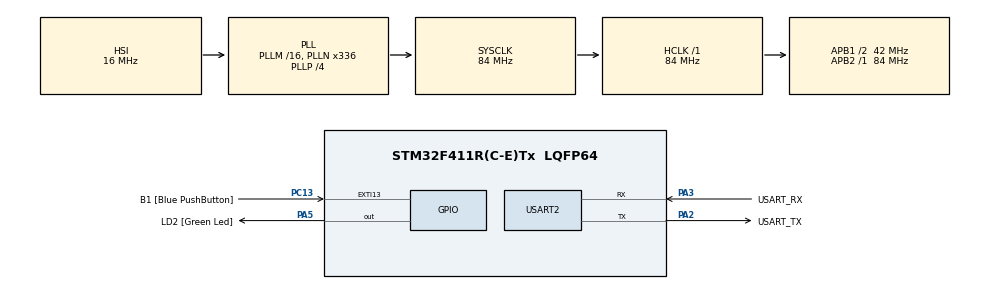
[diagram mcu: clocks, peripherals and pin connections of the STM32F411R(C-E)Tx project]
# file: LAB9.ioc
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Mcu.Family=STM32F4
PC15-OSC32_OUT.Mode=LSE-External-Oscillator
Dma.USART2_TX.1.Priority=DMA_PRIORITY_LOW
RCC.CortexFreq_Value=84000000
Dma.USART2_TX.1.FIFOMode=DMA_FIFOMODE_DISABLE
PC13-ANTI_TAMP.GPIO_Label=B1 [Blue PushButton]
Dma.USART2_TX.1.MemInc=DMA_MINC_ENABLE
PA14.GPIO_Label=TCK
PH1\ -\ OSC_OUT.Mode=HSE-External-Clock-Source
Dma.USART2_RX.0.Direction=DMA_PERIPH_TO_MEMORY
RCC.APB1CLKDivider=RCC_HCLK_DIV2
PC14-OSC32_IN.Signal=RCC_OSC32_IN
Dma.USART2_TX.1.PeriphDataAlignment=DMA_PDATAALIGN_BYTE
NVIC.USART2_IRQn=true\:0\:0\:false\:false\:true\:true\:true
RCC.SYSCLKSource=RCC_SYSCLKSOURCE_PLLCLK
ProjectManager.StackSize=0x400
Dma.USART2_RX.0.Mode=DMA_CIRCULAR
PA3.Mode=Asynchronous
PA13.Signal=SYS_JTMS-SWDIO
PH0\ -\ OSC_IN.Mode=HSE-External-Clock-Source
PH0\ -\ OSC_IN.Signal=RCC_OSC_IN
ProjectManager.TargetToolchain=STM32CubeIDE
NVIC.DMA1_Stream5_IRQn=true\:0\:0\:false\:false\:true\:false\:true
Dma.USART2_RX.0.Priority=DMA_PRIORITY_LOW
Dma.USART2_RX.0.PeriphDataAlignment=DMA_PDATAALIGN_BYTE
RCC.HCLKFreq_Value=84000000
RCC.APB2TimFreq_Value=84000000
Dma.USART2_TX.1.Mode=DMA_NORMAL
PC15-OSC32_OUT.Signal=RCC_OSC32_OUT
RCC.AHBFreq_Value=84000000
PA5.Signal=GPIO_Output
RCC.HSE_VALUE=8000000
PH1\ -\ OSC_OUT.Signal=RCC_OSC_OUT
Dma.USART2_TX.1.PeriphInc=DMA_PINC_DISABLE
board=NUCLEO-F411RE
PC13-ANTI_TAMP.Signal=GPXTI13
RCC.VCOOutputFreq_Value=336000000
Dma.USART2_TX.1.Direction=DMA_MEMORY_TO_PERIPH
RCC.APB2Freq_Value=84000000
Dma.USART2_RX.0.MemDataAlignment=DMA_MDATAALIGN_BYTE
PC14-OSC32_IN.Mode=LSE-External-Oscillator
PA14.Mode=Serial_Wire
Dma.USART2_TX.1.Instance=DMA1_Stream6
Dma.USART2_RX.0.Instance=DMA1_Stream5
PA13.Mode=Serial_Wire
Mcu.Name=STM32F411R(C-E)Tx
Dma.USART2_RX.0.MemInc=DMA_MINC_ENABLE
PA2.Signal=USART2_TX
PA13.GPIO_Label=TMS
RCC.FLatency-AdvancedSettings=FLASH_LATENCY_2
RCC.48MHZClocksFreq_Value=84000000
PB3.Signal=SYS_JTDO-SWO
RCC.SYSCLKFreq_VALUE=84000000
Mcu.Package=LQFP64
PA5.GPIO_Label=LD2 [Green Led]
Dma.USART2_RX.0.PeriphInc=DMA_PINC_DISABLE
USART2.VirtualMode=VM_ASYNC
Dma.USART2_RX.0.FIFOMode=DMA_FIFOMODE_DISABLE
PC13-ANTI_TAMP.GPIO_ModeDefaultEXTI=GPIO_MODE_IT_FALLING
PA2.GPIO_Label=USART_TX
PA14.Signal=SYS_JTCK-SWCLK
ProjectManager.HeapSize=0x200
RCC.HSI_VALUE=16000000
RCC.PLLP=RCC_PLLP_DIV4
NVIC.PriorityGroup=NVIC_PRIORITYGROUP_0
RCC.PLLN=336
Dma.Request1=USART2_TX
RCC.APB1TimFreq_Value=84000000
PA2.Mode=Asynchronous
Dma.USART2_TX.1.MemDataAlignment=DMA_MDATAALIGN_BYTE
Dma.Request0=USART2_RX
NVIC.DMA1_Stream6_IRQn=true\:0\:0\:false\:false\:true\:false\:true
RCC.APB1Freq_Value=42000000
PA3.GPIO_Label=USART_RX
PA3.Signal=USART2_RX
PB3.GPIO_Label=SWO

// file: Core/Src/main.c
/* USER CODE BEGIN Header */
/**
 ******************************************************************************
 * @file           : main.c
 * @brief          : Main program body
 ******************************************************************************
 * @attention
 *
 * <h2><center>&copy; Copyright (c) 2021 STMicroelectronics.
 * All rights reserved.</center></h2>
 *
 * This software component is licensed by ST under BSD 3-Clause license,
 * the "License"; You may not use this file except in compliance with the
 * License. You may obtain a copy of the License at:
 *                        opensource.org/licenses/BSD-3-Clause
 *
 ******************************************************************************
 */
/* USER CODE END Header */
#include "main.h"

/* USER CODE BEGIN Includes */
#include "stdio.h"
#include <stdlib.h>
#include "string.h"
/* USER CODE END Includes */

/* USER CODE BEGIN PD */
//#define UARTDEBUG
#define MAX_PACKET_LEN 255
#define MEMORY_MAX 255
/* USER CODE END PD */

UART_HandleTypeDef huart2;
DMA_HandleTypeDef hdma_usart2_rx;
DMA_HandleTypeDef hdma_usart2_tx;

/* USER CODE BEGIN PV */
typedef struct _UartStructure
{
	UART_HandleTypeDef *huart;
	uint16_t TxLen, RxLen;
	uint8_t *TxBuffer;
	uint16_t TxTail, TxHead;
	uint8_t *RxBuffer;
	uint16_t RxTail; //RXHeadUseDMA

} UARTStucrture;

UARTStucrture UART2 =
{ 0 };

uint8_t MainMemory[MEMORY_MAX] =
{ 0 };

typedef enum
{
	DNMXP_idle,			//Header 1 data
	DNMXP_1stHeader,	//Header 2 data
	DNMXP_2ndHeader,	//Header 3 data
	DNMXP_3rdHeader,	//Reserved data -> MotorID / 0xFE (all device execute instruction (only working when PING , sync read ,bulk read only))
	DNMXP_Reserved,		//ID data
	DNMXP_ID,			//LEN1 data -> datalen
	DNMXP_LEN1,			//datalen |= (LEN2 data << 8)
	DNMXP_LEN2,			//inst data
	DNMXP_Inst,			//check datalen if more than 3 -> has parameter and go to parametercollect state ... else -> no parameter skip parametercollect state
						//to CRCAndExecute
	DNMXP_ParameterCollect,	//collect parameter in array until collect all parameter
	DNMXP_CRCAndExecute		//check CRC is correct or not if correct went to instruction 0x01 (Ping) 0x02 (Read) 0x03 (Write) according to inst data if none
							//of this is match sent to error if incorrect error

} DNMXPState;
/* USER CODE END PV */

void SystemClock_Config(void);
static void MX_GPIO_Init(void);
static void MX_DMA_Init(void);
static void MX_USART2_UART_Init(void);
/* USER CODE BEGIN PFP */
void UARTInit(UARTStucrture *uart);

void UARTResetStart(UARTStucrture *uart);

uint32_t UARTGetRxHead(UARTStucrture *uart);

int16_t UARTReadChar(UARTStucrture *uart);

void UARTTxDumpBuffer(UARTStucrture *uart);

void UARTTxWrite(UARTStucrture *uart, uint8_t *pData, uint16_t len);

unsigned short update_crc(unsigned short crc_accum, unsigned char *data_blk_ptr,
		unsigned short data_blk_size);
void DynamixelProtocal2(uint8_t *Memory, uint8_t MotorID, int16_t dataIn,
		UARTStucrture *uart);
/* USER CODE END PFP */

int main(void)
{

	/* MCU Configuration--------------------------------------------------------*/

	/* Reset of all peripherals, Initializes the Flash interface and the Systick. */
	HAL_Init();

	/* Configure the system clock */
	SystemClock_Config();

	/* Initialize all configured peripherals */
	MX_GPIO_Init();
	MX_DMA_Init();
	MX_USART2_UART_Init();
	/* USER CODE BEGIN 2 */
	UART2.huart = &huart2;
	UART2.RxLen = 255;
	UART2.TxLen = 255;
	UARTInit(&UART2);
	UARTResetStart(&UART2);
	/* USER CODE END 2 */

	/* Infinite loop */
	/* USER CODE BEGIN WHILE */
	while (1)
	{
		int16_t inputChar = UARTReadChar(&UART2);
		if (inputChar != -1)
		{
#ifdef UARTDEBUG
			char temp[32];
			sprintf(temp, "Recived [%d]\r\n", inputChar);
			UARTTxWrite(&UART2, (uint8_t*) temp, strlen(temp));
#else
			DynamixelProtocal2(MainMemory, 1, inputChar, &UART2);
#endif

		}
		/* USER CODE END WHILE */

		/* USER CODE BEGIN 3 */
		UARTTxDumpBuffer(&UART2);
	}
	/* USER CODE END 3 */
}

void SystemClock_Config(void)
{
	RCC_OscInitTypeDef RCC_OscInitStruct =
	{ 0 };
	RCC_ClkInitTypeDef RCC_ClkInitStruct =
	{ 0 };

	/** Configure the main internal regulator output voltage
	 */
	__HAL_RCC_PWR_CLK_ENABLE();
	__HAL_PWR_VOLTAGESCALING_CONFIG(PWR_REGULATOR_VOLTAGE_SCALE1);
	/** Initializes the RCC Oscillators according to the specified parameters
	 * in the RCC_OscInitTypeDef structure.
	 */
	RCC_OscInitStruct.OscillatorType = RCC_OSCILLATORTYPE_HSI;
	RCC_OscInitStruct.HSIState = RCC_HSI_ON;
	RCC_OscInitStruct.HSICalibrationValue = RCC_HSICALIBRATION_DEFAULT;
	RCC_OscInitStruct.PLL.PLLState = RCC_PLL_ON;
	RCC_OscInitStruct.PLL.PLLSource = RCC_PLLSOURCE_HSI;
	RCC_OscInitStruct.PLL.PLLM = 16;
	RCC_OscInitStruct.PLL.PLLN = 336;
	RCC_OscInitStruct.PLL.PLLP = RCC_PLLP_DIV4;
	RCC_OscInitStruct.PLL.PLLQ = 4;
	if (HAL_RCC_OscConfig(&RCC_OscInitStruct) != HAL_OK)
	{
		Error_Handler();
	}
	/** Initializes the CPU, AHB and APB buses clocks
	 */
	RCC_ClkInitStruct.ClockType = RCC_CLOCKTYPE_HCLK | RCC_CLOCKTYPE_SYSCLK
			| RCC_CLOCKTYPE_PCLK1 | RCC_CLOCKTYPE_PCLK2;
	RCC_ClkInitStruct.SYSCLKSource = RCC_SYSCLKSOURCE_PLLCLK;
	RCC_ClkInitStruct.AHBCLKDivider = RCC_SYSCLK_DIV1;
	RCC_ClkInitStruct.APB1CLKDivider = RCC_HCLK_DIV2;
	RCC_ClkInitStruct.APB2CLKDivider = RCC_HCLK_DIV1;

	if (HAL_RCC_ClockConfig(&RCC_ClkInitStruct, FLASH_LATENCY_2) != HAL_OK)
	{
		Error_Handler();
	}
}

static void MX_USART2_UART_Init(void)
{

	huart2.Instance = USART2;
	huart2.Init.BaudRate = 115200;
	huart2.Init.WordLength = UART_WORDLENGTH_8B;
	huart2.Init.StopBits = UART_STOPBITS_1;
	huart2.Init.Parity = UART_PARITY_NONE;
	huart2.Init.Mode = UART_MODE_TX_RX;
	huart2.Init.HwFlowCtl = UART_HWCONTROL_NONE;
	huart2.Init.OverSampling = UART_OVERSAMPLING_16;
	if (HAL_UART_Init(&huart2) != HAL_OK)
	{
		Error_Handler();
	}

}

static void MX_DMA_Init(void)
{

	/* DMA controller clock enable */
	__HAL_RCC_DMA1_CLK_ENABLE();

	/* DMA interrupt init */
	/* DMA1_Stream5_IRQn interrupt configuration */
	HAL_NVIC_SetPriority(DMA1_Stream5_IRQn, 0, 0);
	HAL_NVIC_EnableIRQ(DMA1_Stream5_IRQn);
	/* DMA1_Stream6_IRQn interrupt configuration */
	HAL_NVIC_SetPriority(DMA1_Stream6_IRQn, 0, 0);
	HAL_NVIC_EnableIRQ(DMA1_Stream6_IRQn);

}

static void MX_GPIO_Init(void)
{
	GPIO_InitTypeDef GPIO_InitStruct =
	{ 0 };

	/* GPIO Ports Clock Enable */
	__HAL_RCC_GPIOC_CLK_ENABLE();
	__HAL_RCC_GPIOH_CLK_ENABLE();
	__HAL_RCC_GPIOA_CLK_ENABLE();
	__HAL_RCC_GPIOB_CLK_ENABLE();

	/*Configure GPIO pin Output Level */
	HAL_GPIO_WritePin(LD2_GPIO_Port, LD2_Pin, GPIO_PIN_RESET);

	/*Configure GPIO pin : B1_Pin */
	GPIO_InitStruct.Pin = B1_Pin;
	GPIO_InitStruct.Mode = GPIO_MODE_IT_FALLING;
	GPIO_InitStruct.Pull = GPIO_NOPULL;
	HAL_GPIO_Init(B1_GPIO_Port, &GPIO_InitStruct);

	/*Configure GPIO pin : LD2_Pin */
	GPIO_InitStruct.Pin = LD2_Pin;
	GPIO_InitStruct.Mode = GPIO_MODE_OUTPUT_PP;
	GPIO_InitStruct.Pull = GPIO_NOPULL;
	GPIO_InitStruct.Speed = GPIO_SPEED_FREQ_LOW;
	HAL_GPIO_Init(LD2_GPIO_Port, &GPIO_InitStruct);

}

/* USER CODE BEGIN 4 */
void UARTInit(UARTStucrture *uart)
{
	//dynamic memory allocate
	uart->RxBuffer = (uint8_t*) calloc(sizeof(uint8_t), UART2.RxLen);
	uart->TxBuffer = (uint8_t*) calloc(sizeof(uint8_t), UART2.TxLen);
	uart->RxTail = 0;
	uart->TxTail = 0;
	uart->TxHead = 0;

}

void UARTResetStart(UARTStucrture *uart)
{
	HAL_UART_Receive_DMA(uart->huart, uart->RxBuffer, uart->RxLen);
}
uint32_t UARTGetRxHead(UARTStucrture *uart)
{
	return uart->RxLen - __HAL_DMA_GET_COUNTER(uart->huart->hdmarx);
}
int16_t UARTReadChar(UARTStucrture *uart)
{
	int16_t Result = -1; // -1 Mean no new data

	//check Buffer Position
	if (uart->RxTail != UARTGetRxHead(uart))
	{
		//get data from buffer
		Result = uart->RxBuffer[uart->RxTail];
		uart->RxTail = (uart->RxTail + 1) % uart->RxLen;

	}
	return Result;

}
void UARTTxDumpBuffer(UARTStucrture *uart)
{
	static uint8_t MultiProcessBlocker = 0;

	if (uart->huart->gState == HAL_UART_STATE_READY && !MultiProcessBlocker)
	{
		MultiProcessBlocker = 1;

		if (uart->TxHead != uart->TxTail)
		{
			//find len of data in buffer (Circular buffer but do in one way)
			uint16_t sentingLen =
					uart->TxHead > uart->TxTail ?
							uart->TxHead - uart->TxTail :
							uart->TxLen - uart->TxTail;

			//sent data via DMA
			HAL_UART_Transmit_DMA(uart->huart, &(uart->TxBuffer[uart->TxTail]),
					sentingLen);
			//move tail to new position
			uart->TxTail = (uart->TxTail + sentingLen) % uart->TxLen;

		}
		MultiProcessBlocker = 0;
	}
}
void UARTTxWrite(UARTStucrture *uart, uint8_t *pData, uint16_t len)
{
	//check data len is more than buffur?
	uint16_t lenAddBuffer = (len <= uart->TxLen) ? len : uart->TxLen;
	// find number of data before end of ring buffer
	uint16_t numberOfdataCanCopy =
			lenAddBuffer <= uart->TxLen - uart->TxHead ?
					lenAddBuffer : uart->TxLen - uart->TxHead;
	//copy data to the buffer
	memcpy(&(uart->TxBuffer[uart->TxHead]), pData, numberOfdataCanCopy);

	//Move Head to new position

	uart->TxHead = (uart->TxHead + lenAddBuffer) % uart->TxLen;
	//Check that we copy all data That We can?
	if (lenAddBuffer != numberOfdataCanCopy)
	{
		memcpy(uart->TxBuffer, &(pData[numberOfdataCanCopy]),
				lenAddBuffer - numberOfdataCanCopy);
	}
	UARTTxDumpBuffer(uart);

}

void DynamixelProtocal2(uint8_t *Memory, uint8_t MotorID, int16_t dataIn,
		UARTStucrture *uart)
{
	//all Static Variable
	static DNMXPState State = DNMXP_idle;
	static uint16_t datalen = 0;
	static uint16_t CollectedData = 0;
	static uint8_t inst = 0;
	static uint8_t parameter[256] =
	{ 0 };
	static uint16_t CRCCheck = 0;
	static uint16_t packetSize = 0;
	static uint16_t CRC_accum;

	//State Machine
	switch (State)
	{
	case DNMXP_idle:
		if (dataIn == 0xFF)
			State = DNMXP_1stHeader;
		break;
	case DNMXP_1stHeader:
		if (dataIn == 0xFF)
			State = DNMXP_2ndHeader;
		break;
	case DNMXP_2ndHeader:
		if (dataIn == 0xFD)
			State = DNMXP_3rdHeader;
		else if (dataIn == 0xFF)
			; //do nothing
		else
			State = DNMXP_idle;
		break;
	case DNMXP_3rdHeader:
		if (dataIn == 0x00)
			State = DNMXP_Reserved;
		else
			State = DNMXP_idle;
		break;
	case DNMXP_Reserved:
		if ((dataIn == MotorID) | (dataIn == 0xFE))
			State = DNMXP_ID;
		else
			State = DNMXP_idle;
		break;
	case DNMXP_ID:
		datalen = dataIn & 0xFF;
		State = DNMXP_LEN1;
		break;
	case DNMXP_LEN1:
		datalen |= (dataIn & 0xFF) << 8;
		State = DNMXP_LEN2;
		break;
	case DNMXP_LEN2:
		inst = dataIn;
		State = DNMXP_Inst;
		break;
	case DNMXP_Inst:
		if (datalen > 3)
		{
			parameter[0] = dataIn;
			CollectedData = 1; //inst 1 + para[0] 1
			State = DNMXP_ParameterCollect;
		}
		else
		{
			CRCCheck = dataIn & 0xff;
			State = DNMXP_CRCAndExecute;
		}

		break;
	case DNMXP_ParameterCollect:

		if (datalen-3 > CollectedData)
		{
			parameter[CollectedData] = dataIn;
			CollectedData++;
		}
		else
		{
			CRCCheck = dataIn & 0xff;
			State = DNMXP_CRCAndExecute;
		}
		break;
	case DNMXP_CRCAndExecute:
		CRCCheck |= (dataIn & 0xff) << 8;
		//Check CRC
		CRC_accum = 0;
		packetSize = datalen + 7;
		//check overlapse buffer
		if (uart->RxTail - packetSize >= 0) //not overlapse
		{
			CRC_accum = update_crc(CRC_accum,
					&(uart->RxBuffer[uart->RxTail - packetSize]),
					packetSize - 2);
		}
		else//overlapse
		{
			uint16_t firstPartStart = uart->RxTail - packetSize + uart->RxLen;
			CRC_accum = update_crc(CRC_accum, &(uart->RxBuffer[firstPartStart]),
					uart->RxLen - firstPartStart);
			CRC_accum = update_crc(CRC_accum, uart->RxBuffer, uart->RxTail - 2);

		}

		if (CRC_accum == CRCCheck)
		{
			switch (inst)
			{
			case 0x01:// ping
			{
				//create packet template
				uint8_t temp[] =
				{ 0xff, 0xff, 0xfd, 0x00, 0x00, 0x05, 0x00, 0x55, 0x00, 0x00,
						0x00 };
				//config MotorID
				temp[4] = MotorID;
				//calcuate CRC
				uint16_t crc_calc = update_crc(0, temp, 9);
				temp[9] = crc_calc & 0xff;
				temp[10] = (crc_calc >> 8) & 0xFF;
				//Sent Response Packet
				UARTTxWrite(uart, temp, 11);
				break;
			}

			case 0x02://READ
			{
				uint16_t startAddr = (parameter[0]&0xFF)|(parameter[1]<<8 &0xFF00);
				uint16_t numberOfDataToRead = (parameter[2]&0xFF)|(parameter[3]<<8 &0xFF00);
				uint8_t temp[] = {0xff,0xff,0xfd,0x00,0x00,0x00,0x00,0x55,0x00};
				temp[4] = MotorID;
				temp[5] = (numberOfDataToRead + 4) & 0xff ; // +inst+err+crc1+crc2
				temp[6] = ((numberOfDataToRead + 4)>>8) & 0xff ;
				uint16_t crc_calc = update_crc(0, temp, 9);
				crc_calc = update_crc(crc_calc ,&(Memory[startAddr]),numberOfDataToRead);
				uint8_t crctemp[2];
				crctemp[0] = crc_calc&0xff;
				crctemp[1] = (crc_calc>>8)&0xff;
				UARTTxWrite(uart, temp,9);
				UARTTxWrite(uart, &(Memory[startAddr]),numberOfDataToRead);
				UARTTxWrite(uart, crctemp,2);
				break;
			}
			case 0x03://WRITE
			{
				//LAB
				uint16_t startAddr = (parameter[0]&0xFF)|(parameter[1]<<8 &0xFF00);			//parameter 0 and 1 of write instruction will be starting address
																							//(0 will be low order and 1 will be high order) and to write we
																							//need to know where we will start write
				uint8_t temp[] = {0xff,0xff,0xfd,0x00,0x00,0x04,0x00,0x55,0x00,0x00,0x00};	//we build an array for status packet to send back while 4 headers
																							//(+ reserved) need to be ff ff fd 00 and len1 = 4 len2 = 0
																							//because status packet will have only inst error crc1 crc2
																							//and mode will be 55 status(return)
				temp[4] = MotorID;															//put motor ID in status packet
				if(startAddr + CollectedData - 2 <= MEMORY_MAX)
				{
					for(uint16_t k = 0; k < CollectedData-2; k++)								//loop for writing a value in memory
					{
						Memory[startAddr + k] = parameter[k+2];									//parameter must start from 2 because 0 and 1 is start address
					}
				}
				else
				{
					temp[5] = 4;
				}
				uint16_t crc_calc = update_crc(0, temp, 9);									//calculate crc for status packet
				temp[9] = crc_calc & 0xff;													//put low order crc that calculated in status packet
				temp[10] = (crc_calc >> 8) & 0xFF;											//put high order crc that calculated in status packet
				UARTTxWrite(uart, temp, 11);												//return status packet
				break;
			}
			default: //Unknown Inst
			{
				uint8_t temp[] =
				{ 0xff, 0xff, 0xfd, 0x00, 0x00, 0x05, 0x00, 0x55, 0x02, 0x00,
						0x00 };
				temp[4] = MotorID;
				uint16_t crc_calc = update_crc(0, temp, 9);
				temp[9] = crc_calc & 0xff;
				temp[10] = (crc_calc >> 8) & 0xFF;
				UARTTxWrite(uart, temp, 11);

				break;
			}
			}
		}
		else //crc error
		{
			uint8_t temp[] =
			{ 0xff, 0xff, 0xfd, 0x00, 0x00, 0x05, 0x00, 0x55, 0x03, 0x00, 0x00 };
			temp[4] = MotorID;
			uint16_t crc_calc = update_crc(0, temp, 9);
			temp[9] = crc_calc & 0xff;
			temp[10] = (crc_calc >> 8) & 0xFF;
			UARTTxWrite(uart, temp, 11);
		}
		State = DNMXP_idle;
		break;
	}

}
//data_blk_ptr : Packet array pointer
//data_blk_size : number of bytes in the Packet excluding the CRC
//data_blk_size = Header(3) + Reserved(1) + Packet ID(1) + Packet Length(2) + //Packet Length - CRC(2) = 3 + 1 + 1 + 2 + Pakcet Length - 2 = 5 + Packet Length;
unsigned short update_crc(unsigned short crc_accum, unsigned char *data_blk_ptr,
		unsigned short data_blk_size)
{
	unsigned short i, j;
	unsigned short crc_table[256] =
	{ 0x0000, 0x8005, 0x800F, 0x000A, 0x801B, 0x001E, 0x0014, 0x8011, 0x8033,
			0x0036, 0x003C, 0x8039, 0x0028, 0x802D, 0x8027, 0x0022, 0x8063,
			0x0066, 0x006C, 0x8069, 0x0078, 0x807D, 0x8077, 0x0072, 0x0050,
			0x8055, 0x805F, 0x005A, 0x804B, 0x004E, 0x0044, 0x8041, 0x80C3,
			0x00C6, 0x00CC, 0x80C9, 0x00D8, 0x80DD, 0x80D7, 0x00D2, 0x00F0,
			0x80F5, 0x80FF, 0x00FA, 0x80EB, 0x00EE, 0x00E4, 0x80E1, 0x00A0,
			0x80A5, 0x80AF, 0x00AA, 0x80BB, 0x00BE, 0x00B4, 0x80B1, 0x8093,
			0x0096, 0x009C, 0x8099, 0x0088, 0x808D, 0x8087, 0x0082, 0x8183,
			0x0186, 0x018C, 0x8189, 0x0198, 0x819D, 0x8197, 0x0192, 0x01B0,
			0x81B5, 0x81BF, 0x01BA, 0x81AB, 0x01AE, 0x01A4, 0x81A1, 0x01E0,
			0x81E5, 0x81EF, 0x01EA, 0x81FB, 0x01FE, 0x01F4, 0x81F1, 0x81D3,
			0x01D6, 0x01DC, 0x81D9, 0x01C8, 0x81CD, 0x81C7, 0x01C2, 0x0140,
			0x8145, 0x814F, 0x014A, 0x815B, 0x015E, 0x0154, 0x8151, 0x8173,
			0x0176, 0x017C, 0x8179, 0x0168, 0x816D, 0x8167, 0x0162, 0x8123,
			0x0126, 0x012C, 0x8129, 0x0138, 0x813D, 0x8137, 0x0132, 0x0110,
			0x8115, 0x811F, 0x011A, 0x810B, 0x010E, 0x0104, 0x8101, 0x8303,
			0x0306, 0x030C, 0x8309, 0x0318, 0x831D, 0x8317, 0x0312, 0x0330,
			0x8335, 0x833F, 0x033A, 0x832B, 0x032E, 0x0324, 0x8321, 0x0360,
			0x8365, 0x836F, 0x036A, 0x837B, 0x037E, 0x0374, 0x8371, 0x8353,
			0x0356, 0x035C, 0x8359, 0x0348, 0x834D, 0x8347, 0x0342, 0x03C0,
			0x83C5, 0x83CF, 0x03CA, 0x83DB, 0x03DE, 0x03D4, 0x83D1, 0x83F3,
			0x03F6, 0x03FC, 0x83F9, 0x03E8, 0x83ED, 0x83E7, 0x03E2, 0x83A3,
			0x03A6, 0x03AC, 0x83A9, 0x03B8, 0x83BD, 0x83B7, 0x03B2, 0x0390,
			0x8395, 0x839F, 0x039A, 0x838B, 0x038E, 0x0384, 0x8381, 0x0280,
			0x8285, 0x828F, 0x028A, 0x829B, 0x029E, 0x0294, 0x8291, 0x82B3,
			0x02B6, 0x02BC, 0x82B9, 0x02A8, 0x82AD, 0x82A7, 0x02A2, 0x82E3,
			0x02E6, 0x02EC, 0x82E9, 0x02F8, 0x82FD, 0x82F7, 0x02F2, 0x02D0,
			0x82D5, 0x82DF, 0x02DA, 0x82CB, 0x02CE, 0x02C4, 0x82C1, 0x8243,
			0x0246, 0x024C, 0x8249, 0x0258, 0x825D, 0x8257, 0x0252, 0x0270,
			0x8275, 0x827F, 0x027A, 0x826B, 0x026E, 0x0264, 0x8261, 0x0220,
			0x8225, 0x822F, 0x022A, 0x823B, 0x023E, 0x0234, 0x8231, 0x8213,
			0x0216, 0x021C, 0x8219, 0x0208, 0x820D, 0x8207, 0x0202 };

	for (j = 0; j < data_blk_size; j++)
	{
		i = ((unsigned short) (crc_accum >> 8) ^ data_blk_ptr[j]) & 0xFF;
		crc_accum = (crc_accum << 8) ^ crc_table[i];
	}

	return crc_accum;
}
/* USER CODE END 4 */

void Error_Handler(void)
{
	__disable_irq();
	while (1)
	{
	}
}

/************************ (C) COPYRIGHT STMicroelectronics *****END OF FILE****/
